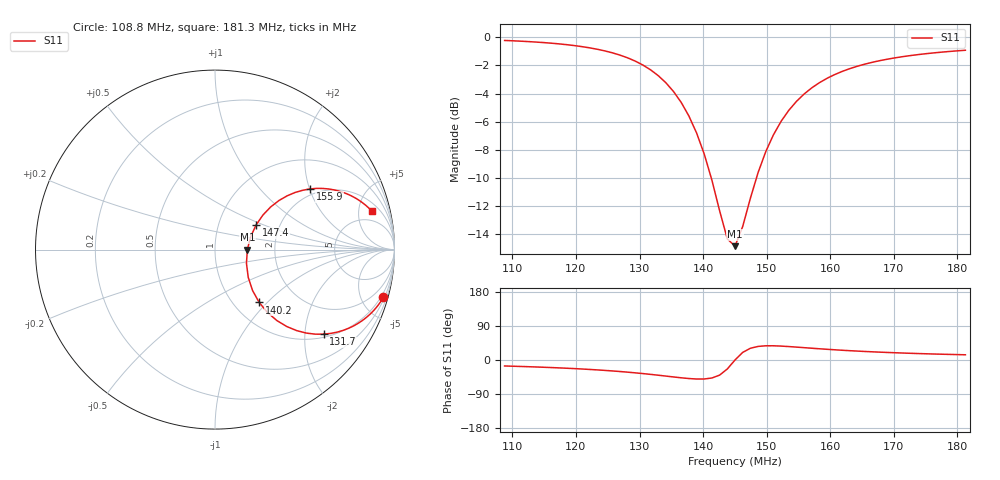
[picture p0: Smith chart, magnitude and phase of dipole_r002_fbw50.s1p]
! Free-space dipole, 1.0 m, 0.2 mm radius
! resonance 145.02 MHz, antenna Q 9.3, fractional bandwidth 50%
! generated with NEC via necpp
# MHZ S MA R 50
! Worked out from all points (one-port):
!   61 points, 108.8 MHz to 181.3 MHz, reference 50 ohm
!   lowest |S11| = -14.9 dB at 145 MHz (marker M1), VSWR 1.44, Z = 72 + j0 ohm
!   |S11| at or under -10 dB: 141.3 MHz to 148.4 MHz (7.139 MHz wide, 4.93 % of centre)
!   S11 on the Smith chart (normalised r, x): 108.8 MHz: 0.66, -7.15; 131.7 MHz: 1.09, -2.49; 140.2 MHz: 1.30, -0.90; 147.4 MHz: 1.51, +0.45; 155.9 MHz: 1.80, +2.02; 181.3 MHz: 3.08, +6.94
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108.7657  0.9753 -15.8
113.5997  0.9629 -18.3
118.4338  0.9426 -21.6
123.2678  0.908 -26.0
125.6848  0.8817 -28.8
128.1018  0.846 -32.1
131.7274  0.7666 -37.9
134.1444  0.6892 -42.4
136.5614  0.5863 -47.0
138.9784  0.4563 -50.2
140.1869  0.3835 -50.1
141.3954  0.3094 -47.4
142.6039  0.2409 -39.8
143.8124  0.1914 -23.7
145.021  0.1803 -0.0
146.2295  0.2117 20.0
147.438  0.2669 31.0
148.6465  0.3294 35.8
149.855  0.3913 37.5
151.0635  0.4493 37.5
152.272  0.5021 36.7
154.689  0.5914 34.0
155.8975  0.6285 32.5
159.5231  0.7152 28.2
163.1486  0.7748 24.5
167.9826  0.8278 20.6
172.8166  0.8626 17.6
181.2762  0.8999 13.8
